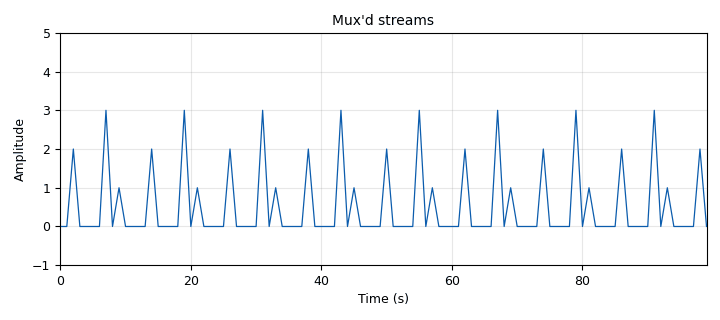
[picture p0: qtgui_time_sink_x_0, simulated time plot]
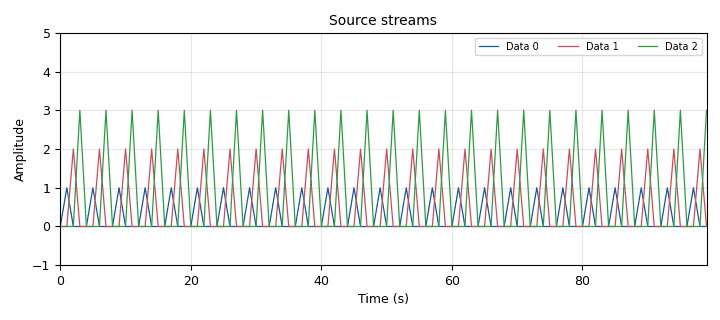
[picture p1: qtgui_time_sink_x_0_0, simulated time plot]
options:
  parameters:
    category: Custom
    generate_options: qt_gui
    id: test_stream_mux_tags
    output_language: python
  states: {}

blocks:
- name: samp_rate
  id: variable
  parameters:
    value: '32000'
  states: {}
- name: tag1
  id: variable_tag_object
  parameters:
    key: pmt.intern("mark1")
    offset: '1'
    src: pmt.intern("src")
    value: pmt.PMT_T
  states: {}
- name: tag2
  id: variable_tag_object
  parameters:
    key: pmt.intern("mark2")
    offset: '2'
    src: pmt.intern("src")
    value: pmt.PMT_T
  states: {}
- name: tag3
  id: variable_tag_object
  parameters:
    key: pmt.intern("mark3")
    offset: '3'
    src: pmt.intern("src")
    value: pmt.PMT_T
  states: {}
- name: blocks_stream_mux_0
  id: blocks_stream_mux
  parameters:
    lengths: (4,4,4)
    num_inputs: '3'
    type: float
  states: {}
- name: blocks_throttle_0
  id: blocks_throttle
  parameters:
    samples_per_second: samp_rate
    type: float
  states: {}
- name: blocks_vector_source_x_0
  id: blocks_vector_source_x
  parameters:
    repeat: 'True'
    tags: '[tag1]'
    type: float
    vector: (0, 1, 0, 0)
  states: {}
- name: blocks_vector_source_x_0_0
  id: blocks_vector_source_x
  parameters:
    repeat: 'True'
    tags: '[tag2]'
    type: float
    vector: (0, 0, 2, 0)
  states: {}
- name: blocks_vector_source_x_0_1
  id: blocks_vector_source_x
  parameters:
    repeat: 'True'
    tags: '[tag3]'
    type: float
    vector: (0, 0, 0, 3)
  states: {}
- name: qtgui_time_sink_x_0
  id: qtgui_time_sink_x
  parameters:
    color1: '"blue"'
    label1: ''
    name: '"Mux''d streams"'
    size: '100'
    srate: '1'
    type: float
    ymax: '5'
  states: {}
- name: qtgui_time_sink_x_0_0
  id: qtgui_time_sink_x
  parameters:
    color1: '"blue"'
    color2: '"red"'
    color3: '"green"'
    label1: ''
    label2: ''
    label3: ''
    name: '"Source streams"'
    nconnections: '3'
    size: '100'
    srate: '1'
    tr_delay: '5'
    tr_mode: qtgui.TRIG_MODE_TAG
    tr_tag: mark1
    type: float
    ymax: '5'
  states: {}

connections:
- [blocks_stream_mux_0, '0', blocks_throttle_0, '0']
- [blocks_throttle_0, '0', qtgui_time_sink_x_0, '0']
- [blocks_vector_source_x_0, '0', blocks_stream_mux_0, '0']
- [blocks_vector_source_x_0, '0', qtgui_time_sink_x_0_0, '0']
- [blocks_vector_source_x_0_0, '0', blocks_stream_mux_0, '1']
- [blocks_vector_source_x_0_0, '0', qtgui_time_sink_x_0_0, '1']
- [blocks_vector_source_x_0_1, '0', blocks_stream_mux_0, '2']
- [blocks_vector_source_x_0_1, '0', qtgui_time_sink_x_0_0, '2']

metadata:
  file_format: 1
